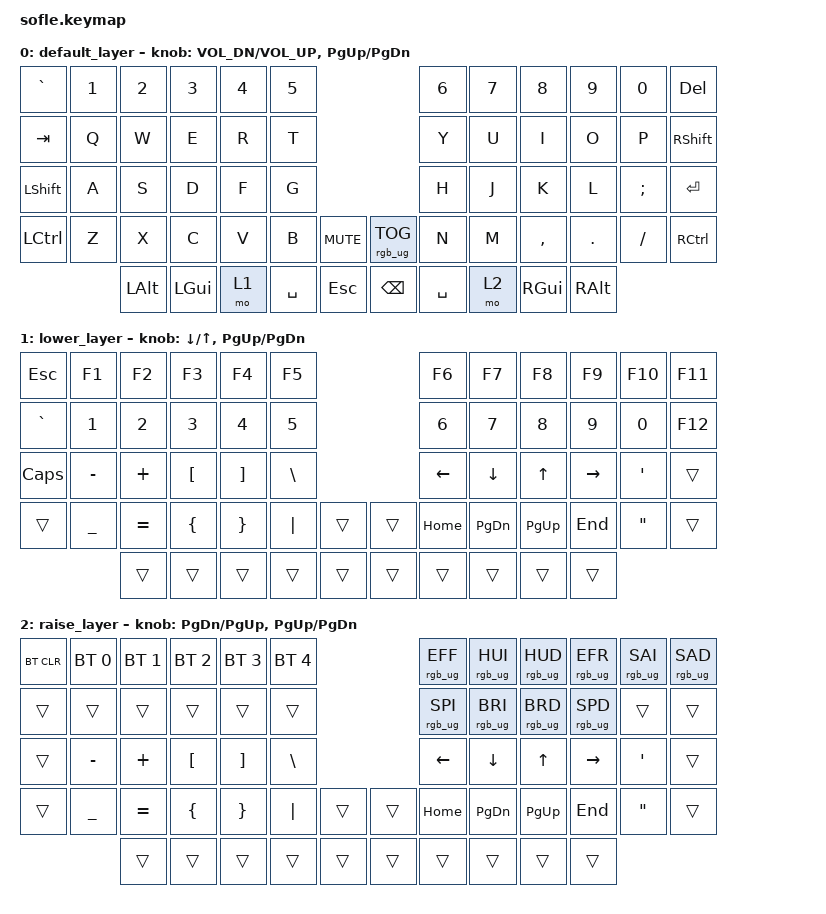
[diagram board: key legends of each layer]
/*
 * Copyright (c) 2020 The ZMK Contributors
 *
 * SPDX-License-Identifier: MIT
 */

#include <behaviors.dtsi>
#include <dt-bindings/zmk/keys.h>
#include <dt-bindings/zmk/bt.h>
#include <dt-bindings/zmk/rgb.h>

/ {
    keymap {
        compatible = "zmk,keymap";

        default_layer {
// ------------------------------------------------------------------------------------------------------------
// |  `    |  1  |  2  |  3   |  4   |  5   |                   |  6   |  7    |  8    |  9   |   0   |       |
// |  ESC  |  Q  |  W  |  E   |  R   |  T   |                   |  Y   |  U    |  I    |  O   |   P   | BKSPC |
// |  TAB  |  A  |  S  |  D   |  F   |  G   |                   |  H   |  J    |  K    |  L   |   ;   |   '   |
// | SHIFT |  Z  |  X  |  C   |  V   |  B   |  MUTE  |  |       |  N   |  M    |  ,    |  .   |   /   | SHIFT |
//               | GUI | ALT  | CTRL | LOWER|  ENTER |  | SPACE | RAISE| CTRL  | ALT   | GUI  |
            bindings = <
&kp GRAVE       &kp N1          &kp N2          &kp N3              &kp N4      &kp N5                                          &kp N6          &kp N7          &kp N8          &kp N9          &kp N0          &kp DEL
&kp TAB         &kp Q           &kp W           &kp E               &kp R       &kp T                                           &kp Y           &kp U           &kp I           &kp O           &kp P           &kp RSHFT
&kp LSHFT       &kp A           &kp S           &kp D               &kp F       &kp G                                           &kp H           &kp J           &kp K           &kp L           &kp SEMI        &kp RET
&kp LCTRL       &kp Z           &kp X           &kp C               &kp V       &kp B           &kp C_MUTE      &rgb_ug RGB_TOG &kp N           &kp M           &kp COMMA       &kp DOT         &kp FSLH        &kp RCTRL
                                &kp LALT        &kp LGUI            &mo 1       &kp SPACE       &kp ESC         &kp BSPC        &kp SPACE       &mo 2           &kp RGUI        &kp RALT 
            >;

            sensor-bindings = <&inc_dec_kp C_VOL_DN C_VOL_UP &inc_dec_kp PG_UP PG_DN>;
        };

        lower_layer {
// TODO: Some binds are waiting for shifted keycode support.
// ------------------------------------------------------------------------------------------------------------
// |       |  F1 |  F2 |  F3  |  F4  |  F5  |                   |  F6  |  F7   |  F8   |  F9  |  F10  |  F11  |
// | `     |   1 |   2 |   3  |   4  |   5  |                   |   6  |   7   |   8   |   9  |    0  |  F12  |
// |       |  !  |  @  |  #   |  $   |  %   |                   |  ^   |  &    |  *    |  (   |   )   |   |   |
// |       |  =  |  -  |  +   |  {   |  }   |        |  |       |  [   |  ]    |  ;    |  :   |   \   |       |
//               |     |      |      |      |        |  |       |      |       |       |      |
            bindings = <
&kp ESC         &kp F1          &kp F2          &kp F3          &kp F4          &kp F5                                          &kp F6          &kp F7          &kp F8          &kp F9          &kp F10         &kp F11
&kp GRAVE       &kp N1          &kp N2          &kp N3          &kp N4          &kp N5                                          &kp N6          &kp N7          &kp N8          &kp N9          &kp N0          &kp F12
&kp CAPS        &kp MINUS       &kp PLUS        &kp LBKT        &kp RBKT        &kp BSLH                                        &kp LEFT        &kp DOWN        &kp UP          &kp RIGHT       &kp SQT         &trans
&trans          &kp UNDER       &kp EQUAL       &kp LBRC        &kp RBRC        &kp PIPE        &trans          &trans          &kp HOME        &kp PG_DN       &kp PG_UP       &kp END         &kp DQT         &trans
                                &trans          &trans          &trans          &trans          &trans          &trans          &trans          &trans          &trans          &trans
            >;

            sensor-bindings = <&inc_dec_kp DOWN UP &inc_dec_kp PG_UP PG_DN>;
        };

        raise_layer {
// ------------------------------------------------------------------------------------------------------------
// |BTCLR| BT1  | BT2  |  BT3  |  BT4  |  BT5 |                |      |      |       |      |       |       |
// |     | INS  | PSCR | GUI   |       |      |                | PGUP |      |   ^   |      |       |       |
// |     | ALT  | CTRL | SHIFT |       | CAPS |                | PGDN |   <- |   v   |  ->  |  DEL  | BKSPC |
// |     | UNDO | CUT  | COPY  | PASTE |      |      |  |      |      |      |       |      |       |       |
//              |      |       |       |      |      |  |      |      |      |       |      |
            bindings = <
&bt BT_CLR      &bt BT_SEL 0    &bt BT_SEL 1    &bt BT_SEL 2    &bt BT_SEL 3    &bt BT_SEL 4                                    &rgb_ug RGB_EFF &rgb_ug RGB_HUI &rgb_ug RGB_HUD &rgb_ug RGB_EFR &rgb_ug RGB_SAI &rgb_ug RGB_SAD
&trans          &trans          &trans          &trans          &trans          &trans                                          &rgb_ug RGB_SPI &rgb_ug RGB_BRI &rgb_ug RGB_BRD &rgb_ug RGB_SPD &trans          &trans
&trans          &kp MINUS       &kp PLUS        &kp LBKT        &kp RBKT        &kp BSLH                                        &kp LEFT        &kp DOWN        &kp UP          &kp RIGHT       &kp SQT         &trans
&trans          &kp UNDER       &kp EQUAL       &kp LBRC        &kp RBRC        &kp PIPE        &trans          &trans          &kp HOME        &kp PG_DN       &kp PG_UP       &kp END         &kp DQT         &trans
                                &trans          &trans          &trans          &trans          &trans          &trans          &trans          &trans          &trans          &trans
            >;

            sensor-bindings = <&inc_dec_kp PG_DN PG_UP &inc_dec_kp PG_UP PG_DN>;
        };
    };
};
